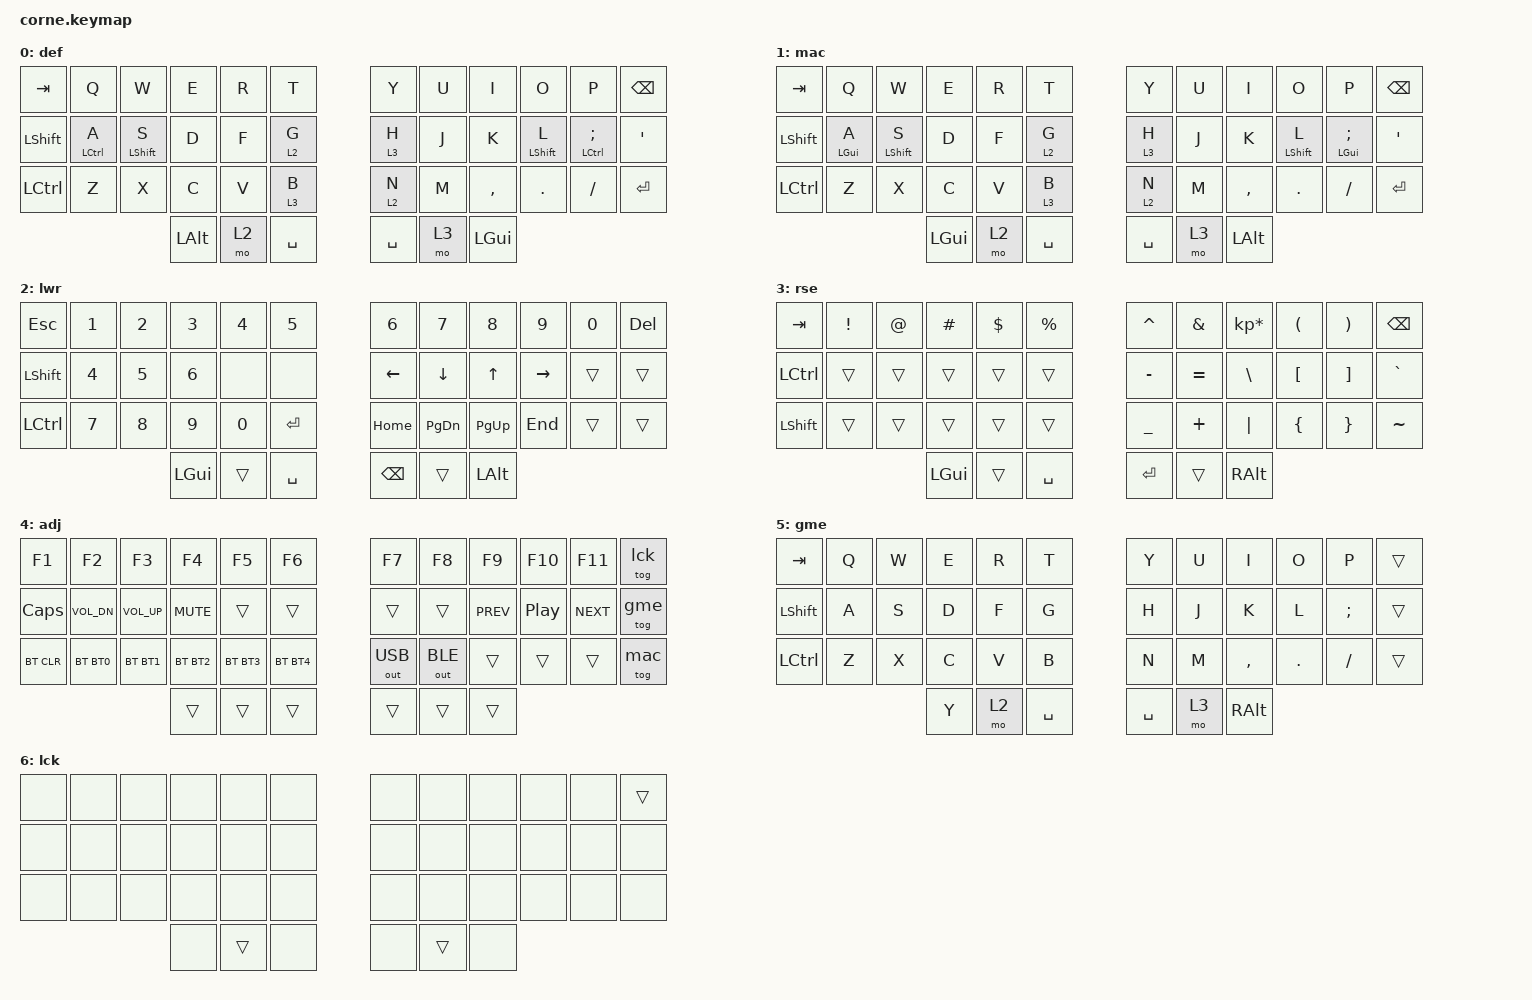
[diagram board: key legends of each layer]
#include <behaviors.dtsi>
#include <dt-bindings/zmk/keys.h>
#include <dt-bindings/zmk/bt.h>
#include <dt-bindings/zmk/outputs.h>

#define def 0
#define mac 1
#define lwr 2
#define rse 3
#define adj 4
#define gme 5
#define lck 6

#define BT0 BT_SEL 0
#define BT1 BT_SEL 1
#define BT2 BT_SEL 2
#define BT3 BT_SEL 3
#define BT4 BT_SEL 4

&mt {
    flavor = "tap-preferred";
    tapping-term-ms = <200>;
};

/ {
    behaviors {
        td_ag: tap_dance_mod_tap {
            compatible = "zmk,behavior-tap-dance";
            label = "TAP_DANCE_MOD_TAP";
            #binding-cells = <0>;
            tapping-term-ms = <200>;
            bindings = <&kp LALT>, <&kp LGUI>;
        };
    };
    conditional_layers {
        compatible = "zmk,conditional-layers";

        tri_layer {
            if-layers = <lwr rse>;
            then-layer = <adj>;
        };
    };
    
// -----------------------------------------------------------------------------------------
        keymap {
                compatible = "zmk,keymap";

                def_layer {
                            label = "def";
// -----------------------------------------------------------------------------------------
// |  TAB |  Q  |  W    |  E    |  R   |  T  |   |  Y  |  U   |  I    |  O   |  P   | BKSP |
// | SHFT |A/CTRL|S/SHFT|  D    |  F   |G/LWR|   |H/RSE|  J   |  K    |L/SHFT|;/CTRL|  '   |
// | CTRL |  Z  |  X    |  C    |  V   |B/RSE|   |N/LWR|  M   |  ,    |  .   |  /   | ENT  |
//                      |  ALT  | LWR  | SPC |   | SPC | RSE  |  GUI  |
                        bindings = <
   &kp TAB   &kp Q        &kp W        &kp E      &kp R   &kp T        &kp Y     &kp U    &kp I      &kp O        &kp P          &kp BSPC
   &kp LSHFT &mt LCTRL A  &mt LSHIFT S &kp D      &kp F   &lt 2 G      &lt 3 H   &kp J    &kp K      &mt LSHIFT L &mt LCTRL SEMI &kp SQT
   &kp LCTRL &kp Z        &kp X        &kp C      &kp V   &lt 3 B      &lt 2 N   &kp M    &kp COMMA  &kp DOT      &kp FSLH       &kp RET
                                       &kp LALT   &mo 2   &kp SPACE    &kp SPACE &mo 3    &kp LGUI
                        >;
                };
                
                mac_layer {
                            label = "mac";
// -----------------------------------------------------------------------------------------
// |  TAB |  Q  |  W    |  E    |  R   |  T  |   |  Y  |  U   |  I    |  O   |  P  | BKSP |
// | SHFT |A/GUI|S/SHFT |  D    |  F   |G/LWR|   |H/RSE|  J   |  K    |L/SHFT|;/GUI|  '   |
// | CTRL |  Z  |  X    |  C    |  V   |B/RSE|   |N/LWR|  M   |  ,    |  .   |  /  | ENT  |
//                      |  GUI  | LWR  | SPC |   | SPC | RSE  |  ALT  |
                        bindings = <
   &kp TAB   &kp Q        &kp W        &kp E      &kp R   &kp T        &kp Y     &kp U    &kp I      &kp O        &kp P          &kp BSPC
   &kp LSHFT &mt LGUI A   &mt LSHIFT S &kp D      &kp F   &lt 2 G      &lt 3 H   &kp J    &kp K      &mt LSHIFT L &mt LGUI SEMI  &kp SQT
   &kp LCTRL &kp Z        &kp X        &kp C      &kp V   &lt 3 B      &lt 2 N   &kp M    &kp COMMA  &kp DOT      &kp FSLH       &kp RET
                                       &kp LGUI   &mo 2   &kp SPACE    &kp SPACE &mo 3    &kp LALT
                        >;
                };
                
                lwr_layer {
                            label = "lwr";
// -----------------------------------------------------------------------------------------
// |  ESC |  1  |  2  |  3  |  4  |  5  |   |  6   |  7  |  8  |  9  |  0  | DEL  |
// | SHFT |  4  |  5  |  6  |     |     |   | LFT  | DWN |  UP | RGT |     |      |
// | CTRL |  7  |  8  |  9  |  0  | ENT |   | HOME |PG_DN|PG_UP| END |     |      |
//                    | GUI |     | SPC |   | BKSP |     | ALT |
                        bindings = <
   &kp ESC    &kp N1  &kp N2  &kp N3    &kp N4  &kp N5       &kp N6    &kp N7    &kp N8    &kp N9    &kp N0  &kp DEL
   &kp LSHFT  &kp N4  &kp N5  &kp N6    &none   &none        &kp LEFT  &kp DOWN  &kp UP    &kp RIGHT &trans  &trans
   &kp LCTRL  &kp N7  &kp N8  &kp N9    &kp N0  &kp RET      &kp HOME  &kp PG_DN &kp PG_UP &kp END   &trans  &trans
                              &kp LGUI  &trans  &kp SPACE    &kp BSPC  &trans    &kp LALT
                        >;
                };

                rse_layer {
                            label = "rse";
// -----------------------------------------------------------------------------------------
// |  TAB |  !  |  @  |  #  |  $  |  %  |   |  ^  |  &  |  *  |  (  |  )  | BKSP |
// | SHFT |     |     |     |     |     |   |  -  |  =  |  \  |  [  |  ]  |   `  |
// | CTRL |     |     |     |     |     |   |  _  |  +  | "|" |  {  |  }  |  ~   |
//                    | GUI |     | SPC |   | ENT |     | ALT |
                        bindings = <
   &kp  TAB  &kp EXCL &kp AT &kp HASH &kp DLLR &kp PRCNT   &kp CARET &kp AMPS  &kp KP_MULTIPLY &kp LPAR &kp RPAR  &kp BSPC
   &kp LCTRL &trans   &trans &trans   &trans   &trans      &kp MINUS &kp EQUAL &kp BSLH        &kp LBKT &kp RBKT  &kp GRAVE
   &kp LSHFT &trans   &trans &trans   &trans   &trans      &kp UNDER &kp PLUS  &kp PIPE        &kp LBRC &kp RBRC  &kp TILDE
                    	     &kp LGUI &trans   &kp SPACE   &kp RET   &trans    &kp RALT
                        >;
                };

                adj_layer {
                            label = "adj";
// -----------------------------------------------------------------------------------------
// |  F1  |  F2  |  F3  |  F4  |  F5  |  F6  |   | F7  |  F8 | F9  | F10  |  F11 |L_LOCK |
// | CLCK |VOL_DN|VOL_UP| MUTE |      |      |   |     |     | PREV|PAUSE | NEXT |L_GAME |
// |BT_CLR|  BT0 |  BT1 | BT2  |  BT3 | BT4  |   |O_USB|O_BLE|     |      |      |L_MAC  |
//                      |      |      |      |   |O_TOG|     |     |        
            bindings = <
                &kp F1      &kp F2       &kp F3       &kp F4     &kp F5   &kp F6         &kp F7       &kp F8       &kp F9     &kp F10     &kp F11    &tog lck
                &kp CLCK    &kp C_VOL_DN &kp C_VOL_UP &kp C_MUTE &trans   &trans         &trans       &trans       &kp C_PREV  &kp C_PP   &kp C_NEXT &tog gme
                &bt BT_CLR  &bt BT0      &bt BT1      &bt BT2    &bt BT3  &bt BT4        &out OUT_USB &out OUT_BLE &trans     &trans      &trans     &tog mac
                                                      &trans     &trans   &trans         &trans       &trans       &trans
            >;
        };

        gme_layer {
                    label = "gme";
// -----------------------------------------------------------------------------------------
// | TAB  |  Q  |  W  |  E  |  R  |  T  |   |  Y  |  U  |  I  |  O  |  P  |      |
// | SHFT |  A  |  S  |  D  |  F  |  G  |   |  H  |  J  |  K  |  L  |  ;  | EXIT |
// | CTRL |  Z  |  X  |  C  |  V  |  B  |   |  N  |  M  |  ,  |  .  |  /  |      |
//                    |  Y  | LWR | SPC |   | SPC | RSE | ALT |        
            bindings = <
                &kp TAB   &kp Q &kp W &kp E &kp R  &kp T        &kp Y     &kp U   &kp I     &kp O   &kp P    &trans
                &kp LSHFT &kp A &kp S &kp D &kp F  &kp G        &kp H     &kp J   &kp K     &kp L   &kp SEMI &trans
                &kp LCTRL &kp Z &kp X &kp C &kp V  &kp B        &kp N     &kp M   &kp COMMA &kp DOT &kp FSLH &trans
                                      &kp Y &mo 2  &kp SPACE    &kp SPACE &mo 3   &kp RALT
            >;
        };


// The Lower+Raise+Backspace binding toggles a "soft lock" mode that effective disables
// other keys, allowing the keyboard to be transported without spurious key presses. (Note
// that the Lower, Raise, and Backspace positions must be bound to &trans to allow the lock
// layer to be toggled again after it's activated.)
//
// If https://github.com/zmkfirmware/zmk/issues/405 is implemented, this layer can be
// replaced by a native behavior in the future.
        lck_layer {
                    label = "lck";
            bindings = <
                &none      &none      &none      &none      &none      &none                            &none      &none      &none      &none      &none      &trans
                &none      &none      &none      &none      &none      &none                            &none      &none      &none      &none      &none      &none
                &none      &none      &none      &none      &none      &none                            &none      &none      &none      &none      &none      &none
                                                            &none      &trans     &none      &none      &trans     &none
            >;
        };
                
        };
};
